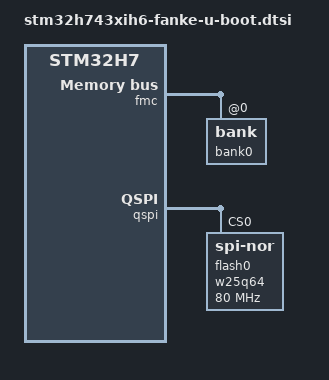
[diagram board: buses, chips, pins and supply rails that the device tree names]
// SPDX-License-Identifier: GPL-2.0+

#include <stm32h7-u-boot.dtsi>

&fmc {

	/*
	 * Memory configuration from sdram datasheet w9825g6kh-6i
	 * first bank is bank@0
	 * second bank is bank@1
	 */
	bank0: bank@0 {
		st,sdram-control = /bits/ 8 <NO_COL_9
					     NO_ROW_13
					     MWIDTH_16
					     BANKS_4
					     CAS_3
					     SDCLK_2
					     RD_BURST_EN
					     RD_PIPE_DL_1>;
		st,sdram-timing = /bits/ 8 <TMRD_2
					    TXSR_7
					    TRAS_4
					    TRC_7
					    TRP_2
					    TWR_3
					    TRCD_2>;
		st,sdram-refcount = <918>;
	};
};

&qspi {
        reg = <0x52005000 0x1000>, <0x90000000 0x10000000>;
        flash0: w25q64@0 {
                #address-cells = <1>;
                #size-cells = <1>;
                compatible = "jedec,spi-nor";
                spi-max-frequency = <80000000>;
                spi-tx-bus-width = <4>;
                spi-rx-bus-width = <4>;
                reg = <0>;
        };
};

&pinctrl {
	fmc_pins: fmc@0 {
		pins {
			pinmux = <STM32_PINMUX('C', 0, AF12)>,

				 <STM32_PINMUX('D', 0, AF12)>,
				 <STM32_PINMUX('D', 1, AF12)>,
				 <STM32_PINMUX('D', 8, AF12)>,
				 <STM32_PINMUX('D', 9, AF12)>,
				 <STM32_PINMUX('D',10, AF12)>,
				 <STM32_PINMUX('D',14, AF12)>,
				 <STM32_PINMUX('D',15, AF12)>,

				 <STM32_PINMUX('E', 0, AF12)>,
				 <STM32_PINMUX('E', 1, AF12)>,
				 <STM32_PINMUX('E', 7, AF12)>,
				 <STM32_PINMUX('E', 8, AF12)>,
				 <STM32_PINMUX('E', 9, AF12)>,
				 <STM32_PINMUX('E',10, AF12)>,
				 <STM32_PINMUX('E',11, AF12)>,
				 <STM32_PINMUX('E',12, AF12)>,
				 <STM32_PINMUX('E',13, AF12)>,
				 <STM32_PINMUX('E',14, AF12)>,
				 <STM32_PINMUX('E',15, AF12)>,

				 <STM32_PINMUX('F', 0, AF12)>,
				 <STM32_PINMUX('F', 1, AF12)>,
				 <STM32_PINMUX('F', 2, AF12)>,
				 <STM32_PINMUX('F', 3, AF12)>,
				 <STM32_PINMUX('F', 4, AF12)>,
				 <STM32_PINMUX('F', 5, AF12)>,
				 <STM32_PINMUX('F',11, AF12)>,
				 <STM32_PINMUX('F',12, AF12)>,
				 <STM32_PINMUX('F',13, AF12)>,
				 <STM32_PINMUX('F',14, AF12)>,
				 <STM32_PINMUX('F',15, AF12)>,

				 <STM32_PINMUX('G', 0, AF12)>,
				 <STM32_PINMUX('G', 1, AF12)>,
				 <STM32_PINMUX('G', 2, AF12)>,
				 <STM32_PINMUX('G', 4, AF12)>,
				 <STM32_PINMUX('G', 5, AF12)>,
				 <STM32_PINMUX('G', 8, AF12)>,
				 <STM32_PINMUX('G',15, AF12)>,

				 <STM32_PINMUX('H', 2, AF12)>,
				 <STM32_PINMUX('H', 3, AF12)>;

			slew-rate = <3>;
		};
	};

	qspi_pins: qspi@0 {
                pins {
                        pinmux = <STM32_PINMUX('F',10, AF9)>, /* CLK */
                                 <STM32_PINMUX('G', 6, AF10)>, /* BK1_NCS */
                                 <STM32_PINMUX('F', 8, AF10)>, /* BK1_IO0 */
                                 <STM32_PINMUX('F', 9, AF10)>, /* BK1_IO1 */
                                 <STM32_PINMUX('F', 7, AF9)>, /* BK1_IO2 */
                                 <STM32_PINMUX('F', 6, AF9)>; /* BK1_IO3 */
                        slew-rate = <2>;
                };
        };
};
